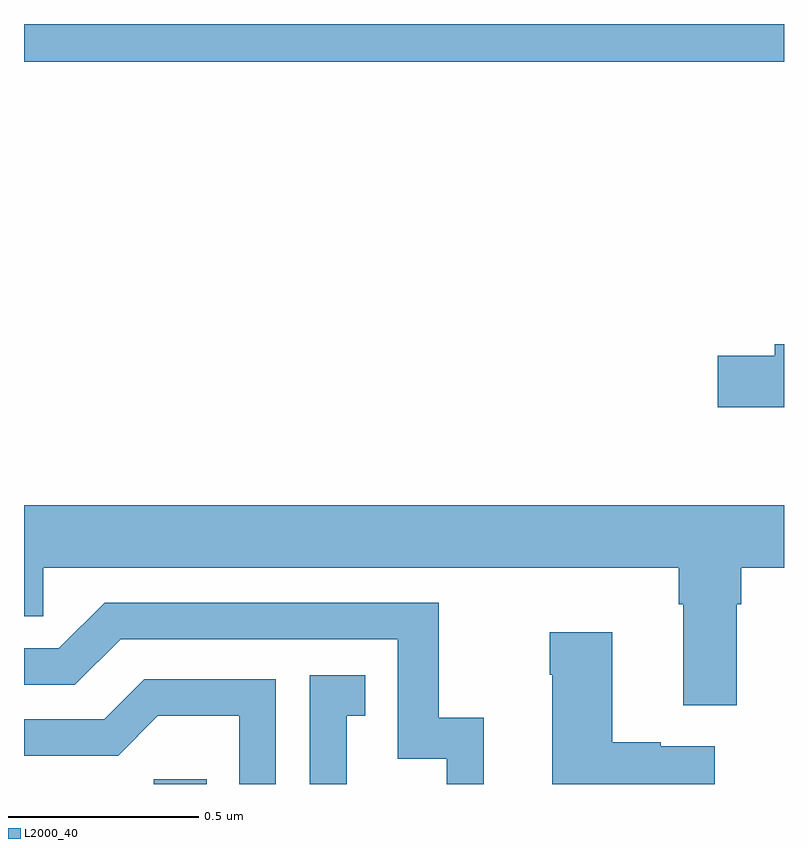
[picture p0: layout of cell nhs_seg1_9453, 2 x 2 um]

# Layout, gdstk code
import gdstk
lib = gdstk.Library(unit=1e-6, precision=1e-09)
def R(c, l, rs):  # rectangles x0, y0, x1, y1
    for r in rs: c.add(gdstk.rectangle(r[:2], r[2:], *l))
def P(c, l, *ps):  # polygons
    for p in ps: c.add(gdstk.Polygon(p, *l))
L2000_40 = (2000, 40)

nhs_seg1_9453 = lib.new_cell('nhs_seg1_9453')
R(nhs_seg1_9453, L2000_40, [(229.341,515.199,229.481,515.211), (229,517.1,231,517.199)])
P(nhs_seg1_9453, L2000_40, [(231,516.356),(230.975,516.356),(230.975,516.326),(230.826,516.326),(230.826,516.191),(231,516.191)],
  [(230.875,515.672),(230.888,515.672),(230.888,515.768),(231,515.768),(231,515.932),(229,515.932),(229,515.641),(229.05,515.641),(229.05,515.768),(230.723,515.768),(230.723,515.672),(230.735,515.672),(230.735,515.406),(230.875,515.406)],
  [(230.21,515.374),(230.092,515.374),(230.092,515.676),(229.212,515.676),(229.092,515.556),(229,515.556),(229,515.46),(229.134,515.46),(229.254,515.58),(229.983,515.58),(229.983,515.265),(230.112,515.265),(230.112,515.199),(230.21,515.199)],
  [(230.818,515.299),(230.675,515.299),(230.675,515.309),(230.548,515.309),(230.548,515.599),(230.383,515.599),(230.383,515.486),(230.39,515.486),(230.39,515.199),(230.818,515.199)],
  [(229.849,515.379),(229.898,515.379),(229.898,515.485),(229.752,515.485),(229.752,515.199),(229.849,515.199)],
  [(229.662,515.475),(229.316,515.475),(229.211,515.37),(229,515.37),(229,515.274),(229.248,515.274),(229.352,515.378),(229.566,515.378),(229.566,515.199),(229.662,515.199)])

lib.write_gds('nhs_seg1_9453.gds')
